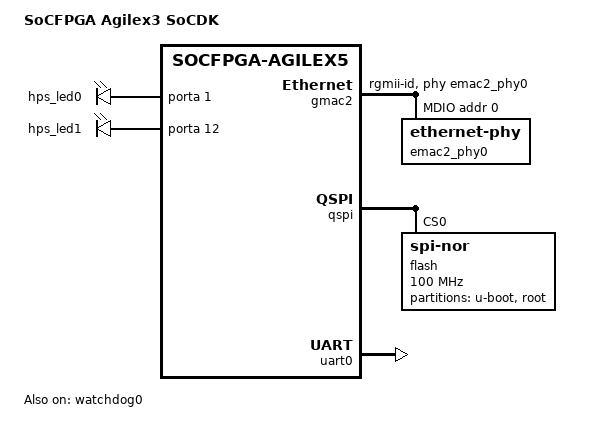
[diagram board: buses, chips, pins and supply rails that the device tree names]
// SPDX-License-Identifier: GPL-2.0-only
/*
 * Copyright (C) 2025, Altera Corporation
 */
#include "socfpga_agilex5.dtsi"

/ {
	model = "SoCFPGA Agilex3 SoCDK";
	compatible = "intel,socfpga-agilex3-socdk", "intel,socfpga-agilex3",
		     "intel,socfpga-agilex5";

	aliases {
		serial0 = &uart0;
		ethernet2 = &gmac2;
	};

	chosen {
		stdout-path = "serial0:115200n8";
	};

	cpus {
		/delete-node/ cpu@2;
		/delete-node/ cpu@3;
	};

	leds {
		compatible = "gpio-leds";

		led0 {
			label = "hps_led0";
			gpios = <&porta 1 GPIO_ACTIVE_HIGH>;
		};

		led1 {
			label = "hps_led1";
			gpios = <&porta 12 GPIO_ACTIVE_HIGH>;
		};

	};

	memory@80000000 {
		device_type = "memory";
		/* We expect the bootloader to fill in the reg */
		reg = <0x0 0x80000000 0x0 0x0>;
	};
};

&gmac2 {
	status = "okay";
	phy-mode = "rgmii-id";
	phy-handle = <&emac2_phy0>;
	max-frame-size = <9000>;

	mdio0 {
		compatible = "snps,dwmac-mdio";
		#address-cells = <1>;
		#size-cells = <0>;

		emac2_phy0: ethernet-phy@0 {
			reg = <0>;
			rxc-skew-ps = <0>;
			rxdv-skew-ps = <0>;
			rxd0-skew-ps = <0>;
			rxd1-skew-ps = <0>;
			rxd2-skew-ps = <0>;
			rxd3-skew-ps = <0>;
			txc-skew-ps = <0>;
			txen-skew-ps = <60>;
			txd0-skew-ps = <60>;
			txd1-skew-ps = <60>;
			txd2-skew-ps = <60>;
			txd3-skew-ps = <60>;
		};
	};
};

&gpio0 {
	status = "okay";
};

&gpio1 {
	status = "okay";
};

&osc1 {
	clock-frequency = <25000000>;
};

&qspi {
	status = "okay";
	flash@0 {
		compatible = "jedec,spi-nor";
		reg = <0>;
		spi-max-frequency = <100000000>;
		m25p,fast-read;
		cdns,read-delay = <2>;
		cdns,tshsl-ns = <50>;
		cdns,tsd2d-ns = <50>;
		cdns,tchsh-ns = <4>;
		cdns,tslch-ns = <4>;
		spi-tx-bus-width = <4>;
		spi-rx-bus-width = <4>;

		partitions {
			compatible = "fixed-partitions";
			#address-cells = <1>;
			#size-cells = <1>;

			qspi_boot: partition@0 {
				label = "u-boot";
				reg = <0x0 0x00c00000>;
			};

			root: partition@c00000 {
				label = "root";
				reg = <0x00c00000 0x03400000>;
			};
		};
	};
};

&smmu {
	status = "okay";
};

&uart0 {
	status = "okay";
};

&watchdog0 {
	status = "okay";
};
